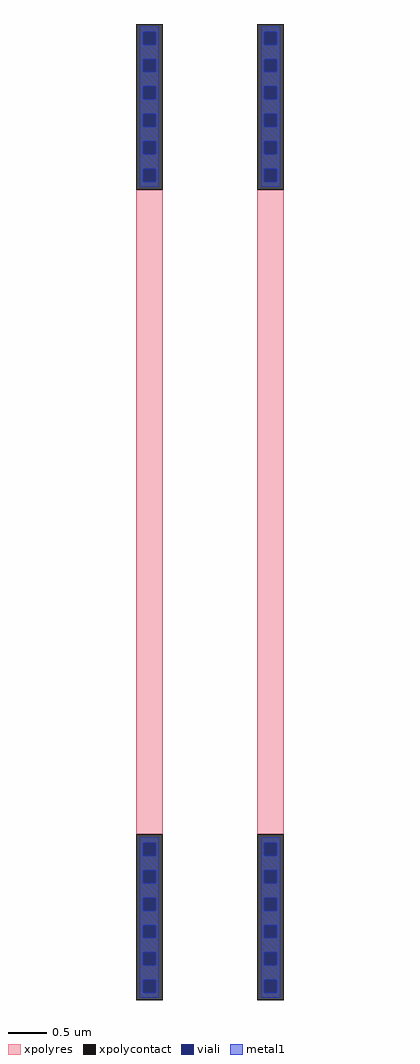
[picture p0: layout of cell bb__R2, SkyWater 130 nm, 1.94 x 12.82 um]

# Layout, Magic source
magic
tech sky130A
magscale 1 2
<< xpolycontact >>
rect -194 846 -124 1282
rect -194 -1282 -124 -846
rect 124 846 194 1282
rect 124 -1282 194 -846
<< xpolyres >>
rect -194 -846 -124 846
rect 124 -846 194 846
<< viali >>
rect -176 1228 -142 1262
rect -176 1156 -142 1190
rect -176 1084 -142 1118
rect -176 1012 -142 1046
rect -176 940 -142 974
rect -176 868 -142 902
rect 142 1228 176 1262
rect 142 1156 176 1190
rect 142 1084 176 1118
rect 142 1012 176 1046
rect 142 940 176 974
rect 142 868 176 902
rect -176 -903 -142 -869
rect -176 -975 -142 -941
rect -176 -1047 -142 -1013
rect -176 -1119 -142 -1085
rect -176 -1191 -142 -1157
rect -176 -1263 -142 -1229
rect 142 -903 176 -869
rect 142 -975 176 -941
rect 142 -1047 176 -1013
rect 142 -1119 176 -1085
rect 142 -1191 176 -1157
rect 142 -1263 176 -1229
<< metal1 >>
rect -184 1262 -134 1276
rect -184 1228 -176 1262
rect -142 1228 -134 1262
rect -184 1190 -134 1228
rect -184 1156 -176 1190
rect -142 1156 -134 1190
rect -184 1118 -134 1156
rect -184 1084 -176 1118
rect -142 1084 -134 1118
rect -184 1046 -134 1084
rect -184 1012 -176 1046
rect -142 1012 -134 1046
rect -184 974 -134 1012
rect -184 940 -176 974
rect -142 940 -134 974
rect -184 902 -134 940
rect -184 868 -176 902
rect -142 868 -134 902
rect -184 855 -134 868
rect 134 1262 184 1276
rect 134 1228 142 1262
rect 176 1228 184 1262
rect 134 1190 184 1228
rect 134 1156 142 1190
rect 176 1156 184 1190
rect 134 1118 184 1156
rect 134 1084 142 1118
rect 176 1084 184 1118
rect 134 1046 184 1084
rect 134 1012 142 1046
rect 176 1012 184 1046
rect 134 974 184 1012
rect 134 940 142 974
rect 176 940 184 974
rect 134 902 184 940
rect 134 868 142 902
rect 176 868 184 902
rect 134 855 184 868
rect -184 -869 -134 -855
rect -184 -903 -176 -869
rect -142 -903 -134 -869
rect -184 -941 -134 -903
rect -184 -975 -176 -941
rect -142 -975 -134 -941
rect -184 -1013 -134 -975
rect -184 -1047 -176 -1013
rect -142 -1047 -134 -1013
rect -184 -1085 -134 -1047
rect -184 -1119 -176 -1085
rect -142 -1119 -134 -1085
rect -184 -1157 -134 -1119
rect -184 -1191 -176 -1157
rect -142 -1191 -134 -1157
rect -184 -1229 -134 -1191
rect -184 -1263 -176 -1229
rect -142 -1263 -134 -1229
rect -184 -1276 -134 -1263
rect 134 -869 184 -855
rect 134 -903 142 -869
rect 176 -903 184 -869
rect 134 -941 184 -903
rect 134 -975 142 -941
rect 176 -975 184 -941
rect 134 -1013 184 -975
rect 134 -1047 142 -1013
rect 176 -1047 184 -1013
rect 134 -1085 184 -1047
rect 134 -1119 142 -1085
rect 176 -1119 184 -1085
rect 134 -1157 184 -1119
rect 134 -1191 142 -1157
rect 176 -1191 184 -1157
rect 134 -1229 184 -1191
rect 134 -1263 142 -1229
rect 176 -1263 184 -1229
rect 134 -1276 184 -1263
<< end >>
